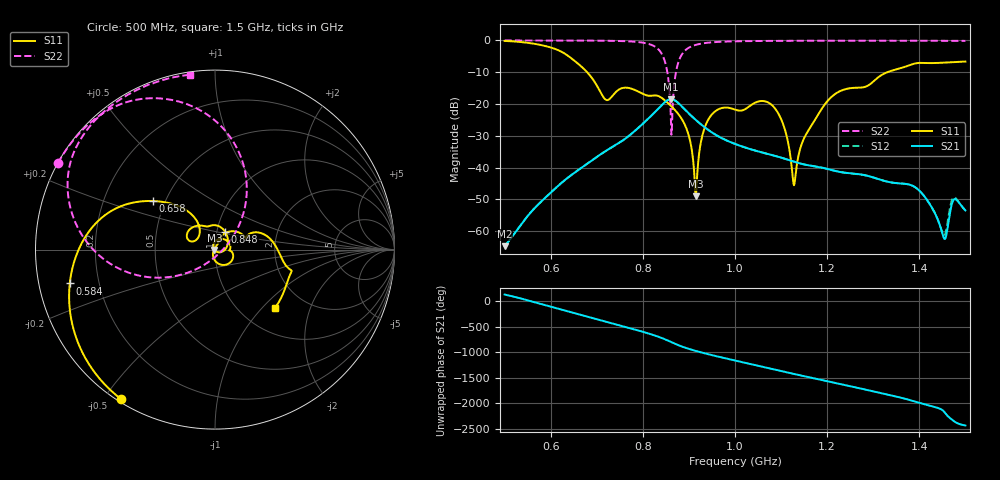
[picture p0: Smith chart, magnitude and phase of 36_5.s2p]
! TOUCHSTONE file generated by CST MICROWAVE STUDIO
! Date and time: Fri Oct  2 19:16:24 2020
! Project name: Scenario_1_Free_Space_out_of_line.cst
! Parameters = {Lambda=346.42; Step_1=17.321; dy1=-259.295; dx1=866; L_HA=400; MT=2.54; Rad_Dielectric=30; Rad_Lower=7.3; Rad_Upper=30; a_HA=580; a_WG=246; b_HA=500; b_WG=121; c_HA=0; c_WG=187; d_feed=85; h_feed=15; h_lower=18; h_upper=40}
! Header version: 2018
! Port assignment regex: !\s*Touchstone port\s*([0-9]+)\s*=\s*(CST MWS port|CST DS port)\s*([0-9]+|Zmin|Zmax)\s*\(\"(.*)\"\)(\s*mode\s*([0-9]+))?.*
! Touchstone port assignment:
! Touchstone port 1 = CST MWS port 1 ("")
! Touchstone port 2 = CST MWS port 2 ("")
# GHz S DB R 50
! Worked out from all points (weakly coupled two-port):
!   1003 points, 500 MHz to 1.5 GHz, reference 50 ohm
!   highest |S21| = -18.49 dB at 861 MHz (marker M1); lowest = -64.7 dB at 500 MHz (marker M2)
!   lowest |S11| = -49.0 dB at 915 MHz (marker M3), VSWR 1.01, Z = 49.7 - j0.195 ohm
!   |S11| at or under -10 dB: 679.1 MHz to 1.33 GHz (651.2 MHz wide, 64.8 % of centre)
!   |S22| runs from -29.7 to 0.0 dB; largest |S21 - S12| = 0.00045
!   S11 on the Smith chart (normalised r, x): 500 MHz: 0.01, -0.55; 584 MHz: 0.09, -0.11; 658 MHz: 0.43, +0.29; 848 MHz: 1.10, +0.22; 1.5 GHz: 1.43, -1.18
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0.5  -0.15 -122.3  -64.71 135.1  -64.71 135.1  -0.01 151.2
0.584  -1.61 -166.9  -50.04 -63.2  -50.04 -63.2  -0.02 145.4
0.658  -7.15 142.0  -40.95 114.2  -40.95 114.2  -0.04 139.3
0.667  -8.27 136.8  -40.02 92.1  -40.02 92.1  -0.04 138.4
0.721  -18.75 143.1  -34.64 -41.2  -34.64 -41.2  -0.10 132.3
0.834  -17.51 82.5  -21.38 26.2  -21.38 26.2  -2.83 90.3
0.848  -18.86 60.1  -19.38 -22.7  -19.38 -22.7  -6.69 68.7
0.861  -20.60 40.5  -18.49 -75.3  -18.49 -75.3  -25.12 11.6
0.88  -23.74 10.1  -20.10 -149.4  -20.10 -149.4  -5.72 -166.6
0.9  -30.09 -29.0  -23.00 148.4  -23.00 148.4  -2.27 171.3
0.915  -48.97 -146.5  -25.02 108.3  -25.02 108.3  -1.39 162.3
0.943  -24.65 73.7  -28.26 41.4  -28.26 41.4  -0.68 152.0
1  -21.75 -1.0  -32.55 -79.5  -32.55 -79.5  -0.28 140.8
1.084  -20.90 -68.6  -36.19 106.9  -36.19 106.9  -0.14 131.5
1.109  -28.39 -106.3  -37.25 55.1  -37.25 55.1  -0.12 129.2
1.128  -45.54 153.7  -38.14 16.8  -38.14 16.8  -0.11 127.6
1.167  -26.50 65.4  -39.45 -59.1  -39.45 -59.1  -0.10 124.4
1.334  -9.80 8.0  -44.53 -34.4  -44.52 -34.4  -0.07 111.6
1.4  -7.07 -15.5  -47.22 170.4  -47.24 170.6  -0.10 106.6
1.454  -6.98 -29.9  -62.31 -6.3  -61.38 -14.5  -0.12 102.1
1.474  -6.82 -36.1  -50.24 177.1  -49.42 172.5  -0.12 100.4
1.5  -6.64 -44.1  -53.48 86.3  -53.48 86.3  -0.14 98.2
